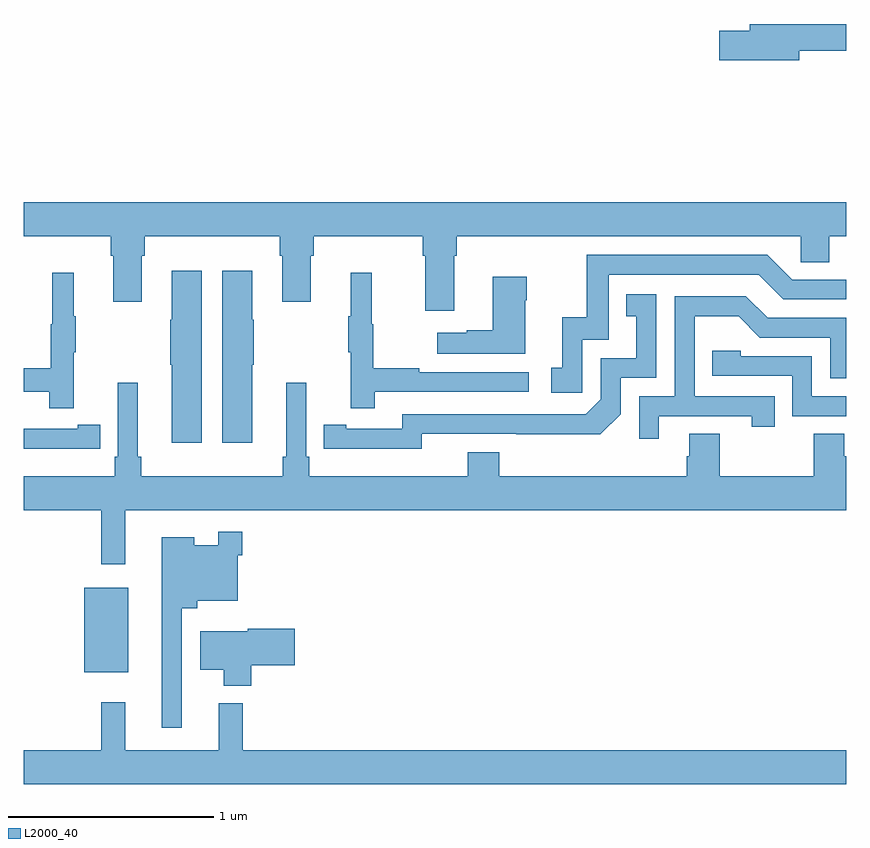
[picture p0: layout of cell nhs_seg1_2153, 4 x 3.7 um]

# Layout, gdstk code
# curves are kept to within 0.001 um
import gdstk
lib = gdstk.Library(unit=1e-6, precision=1e-09)
def R(c, l, rs):  # rectangles x0, y0, x1, y1
    for r in rs: c.add(gdstk.rectangle(r[:2], r[2:], *l))
def P(c, l, *ps):  # polygons
    for p in ps: c.add(gdstk.Polygon(p, *l))
L2000_40 = (2000, 40)

nhs_seg1_2153 = lib.new_cell('nhs_seg1_2153')
R(nhs_seg1_2153, L2000_40, [(227.294,574.919,227.509,575.329)])
P(nhs_seg1_2153, L2000_40, [(230.77,577.942),(231,577.942),(231,578.071),(230.531,578.071),(230.531,578.037),(230.382,578.037),(230.382,577.895),(230.77,577.895)],
  [(229.093,576.944),(229.106,576.944),(229.106,577.04),(230.778,577.04),(230.778,576.913),(230.917,576.913),(230.917,577.04),(231,577.04),(231,577.204),(227,577.204),(227,577.04),(227.423,577.04),(227.423,576.944),(227.435,576.944),(227.435,576.72),(227.575,576.72),(227.575,576.944),(227.588,576.944),(227.588,577.04),(228.245,577.04),(228.245,576.944),(228.257,576.944),(228.257,576.72),(228.397,576.72),(228.397,576.944),(228.41,576.944),(228.41,577.04),(228.941,577.04),(228.941,576.944),(228.953,576.944),(228.953,576.678),(229.093,576.678)],
  [(229.716,576.537),(229.845,576.537),(229.845,576.852),(230.574,576.852),(230.694,576.732),(231,576.732),(231,576.828),(230.736,576.828),(230.616,576.948),(229.737,576.948),(229.737,576.646),(229.619,576.646),(229.619,576.399),(229.566,576.399),(229.566,576.279),(229.716,576.279)],
  [(228.112,576.415),(228.12,576.415),(228.12,576.632),(228.112,576.632),(228.112,576.871),(227.966,576.871),(227.966,576.036),(228.112,576.036)],
  [(227.866,576.871),(227.72,576.871),(227.72,576.632),(227.713,576.632),(227.713,576.415),(227.72,576.415),(227.72,576.036),(227.866,576.036)],
  [(227.243,576.475),(227.254,576.475),(227.254,576.649),(227.243,576.649),(227.243,576.862),(227.14,576.862),(227.14,576.612),(227.133,576.612),(227.133,576.398),(227,576.398),(227,576.282),(227.125,576.282),(227.125,576.204),(227.243,576.204)],
  [(228.707,576.282),(229.456,576.282),(229.456,576.378),(228.923,576.378),(228.923,576.398),(228.7,576.398),(228.7,576.612),(228.692,576.612),(228.692,576.862),(228.59,576.862),(228.59,576.649),(228.579,576.649),(228.579,576.475),(228.59,576.475),(228.59,576.204),(228.707,576.204)],
  [(229.438,576.728),(229.446,576.728),(229.446,576.841),(229.28,576.841),(229.28,576.581),(229.154,576.581),(229.154,576.571),(229.011,576.571),(229.011,576.467),(229.438,576.467)],
  [(228.936,576.078),(229.804,576.077),(229.902,576.174),(229.902,576.351),(230.076,576.351),(230.076,576.757),(229.93,576.757),(229.93,576.651),(229.979,576.651),(229.979,576.447),(229.806,576.447),(229.806,576.246),(229.734,576.174),(228.84,576.174),(228.84,576.102),(228.568,576.102),(228.568,576.122),(228.46,576.122),(228.46,576.006),(228.936,576.005)],
  [(230.089,576.165),(230.54,576.165),(230.54,576.114),(230.651,576.114),(230.651,576.261),(230.262,576.261),(230.262,576.65),(230.476,576.65),(230.58,576.546),(230.922,576.546),(230.922,576.348),(231,576.348),(231,576.642),(230.617,576.642),(230.512,576.747),(230.166,576.747),(230.166,576.261),(229.992,576.261),(229.992,576.054),(230.089,576.054)],
  [(231,576.261),(230.832,576.261),(230.832,576.456),(230.487,576.456),(230.487,576.483),(230.347,576.483),(230.347,576.36),(230.736,576.36),(230.736,576.165),(231,576.165)],
  [(227.494,575.708),(231,575.708),(231,575.97),(230.989,575.97),(230.989,576.08),(230.842,576.08),(230.842,575.872),(230.385,575.872),(230.385,576.08),(230.237,576.08),(230.237,575.97),(230.225,575.97),(230.225,575.872),(229.313,575.872),(229.313,575.989),(229.16,575.989),(229.16,575.872),(228.389,575.872),(228.389,575.968),(228.375,575.968),(228.375,576.328),(228.278,576.328),(228.278,575.968),(228.259,575.968),(228.259,575.872),(227.573,575.872),(227.573,575.968),(227.554,575.968),(227.554,576.328),(227.457,576.328),(227.457,575.968),(227.444,575.968),(227.444,575.872),(227,575.872),(227,575.708),(227.377,575.708),(227.377,575.445),(227.494,575.445)],
  [(227.264,576.006),(227.372,576.006),(227.372,576.122),(227.264,576.122),(227.264,576.102),(227,576.102),(227,576.005),(227.264,576.005)],
  [(227.769,575.231),(227.843,575.231),(227.843,575.267),(228.042,575.267),(228.042,575.489),(228.062,575.489),(228.062,575.602),(227.946,575.602),(227.946,575.536),(227.83,575.536),(227.83,575.575),(227.672,575.575),(227.672,574.65),(227.769,574.65)],
  [(228.107,574.954),(228.319,574.954),(228.319,575.132),(228.09,575.132),(228.09,575.119),(227.858,575.119),(227.858,574.931),(227.972,574.931),(227.972,574.853),(228.107,574.853)],
  [(231,574.54),(228.065,574.54),(228.065,574.768),(227.948,574.768),(227.948,574.54),(227.495,574.54),(227.495,574.774),(227.377,574.774),(227.377,574.54),(227,574.54),(227,574.376),(231,574.376)])

lib.write_gds('nhs_seg1_2153.gds')
